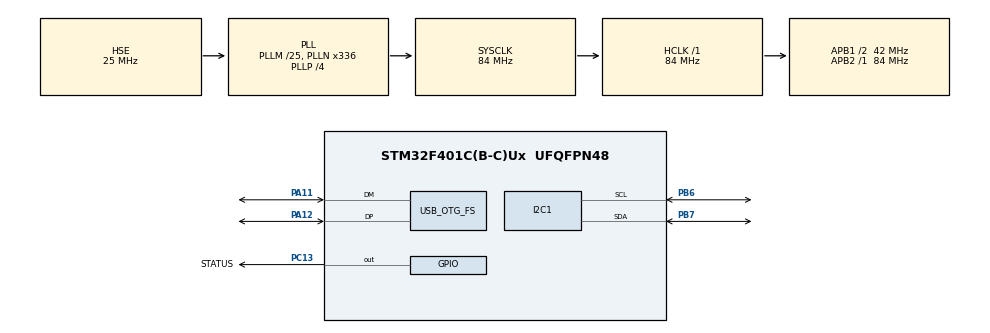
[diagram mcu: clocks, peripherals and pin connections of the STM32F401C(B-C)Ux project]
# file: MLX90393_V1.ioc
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I2C1.I2C_Mode=I2C_Fast
Mcu.Family=STM32F4
Mcu.Name=STM32F401C(B-C)Ux
Mcu.Package=UFQFPN48
NVIC.OTG_FS_IRQn=true\:0\:0\:false\:false\:true\:false\:true\:true
NVIC.PriorityGroup=NVIC_PRIORITYGROUP_4
NVIC.TIM1_TRG_COM_TIM11_IRQn=true\:15\:0\:false\:false\:true\:false\:true\:true
NVIC.TimeBase=TIM1_TRG_COM_TIM11_IRQn
NVIC.TimeBaseIP=TIM11
PA11.Mode=Device_Only
PA11.Signal=USB_OTG_FS_DM
PA12.Mode=Device_Only
PA12.Signal=USB_OTG_FS_DP
PB6.Mode=I2C
PB6.Signal=I2C1_SCL
PB7.Mode=I2C
PB7.Signal=I2C1_SDA
PC13-ANTI_TAMP.GPIO_Label=STATUS
PC13-ANTI_TAMP.Signal=GPIO_Output
PH0\ -\ OSC_IN.Mode=HSE-External-Oscillator
PH0\ -\ OSC_IN.Signal=RCC_OSC_IN
PH1\ -\ OSC_OUT.Mode=HSE-External-Oscillator
PH1\ -\ OSC_OUT.Signal=RCC_OSC_OUT
ProjectManager.HeapSize=0x200
ProjectManager.StackSize=0x400
ProjectManager.TargetToolchain=STM32CubeIDE
RCC.48MHZClocksFreq_Value=48000000
RCC.AHBFreq_Value=84000000
RCC.APB1CLKDivider=RCC_HCLK_DIV2
RCC.APB1Freq_Value=42000000
RCC.APB1TimFreq_Value=84000000
RCC.APB2Freq_Value=84000000
RCC.APB2TimFreq_Value=84000000
RCC.CortexFreq_Value=84000000
RCC.HCLKFreq_Value=84000000
RCC.HSE_VALUE=25000000
RCC.HSI_VALUE=16000000
RCC.LSE_VALUE=32768
RCC.PLLM=25
RCC.PLLN=336
RCC.PLLP=RCC_PLLP_DIV4
RCC.PLLQ=7
RCC.SYSCLKFreq_VALUE=84000000
RCC.SYSCLKSource=RCC_SYSCLKSOURCE_PLLCLK
RCC.VCOOutputFreq_Value=336000000
TIM1.Period=0xffff-1
TIM1.Prescaler=84-1
USB_DEVICE.CLASS_NAME_FS=CDC
USB_DEVICE.VirtualMode=Cdc
USB_DEVICE.VirtualModeFS=Cdc_FS
USB_OTG_FS.VirtualMode=Device_Only
VP_RTC_VS_RTC_Activate.Mode=RTC_Enabled
VP_SYS_VS_tim11.Mode=TIM11
VP_TIM1_VS_ClockSourceINT.Mode=Internal
VP_USB_DEVICE_VS_USB_DEVICE_CDC_FS.Mode=CDC_FS
board=custom

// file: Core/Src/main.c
/* USER CODE BEGIN Header */
/**
  ******************************************************************************
  * @file           : main.c
  * @brief          : Main program body
  ******************************************************************************
  * @attention
  *
  * Copyright (c) 2024 STMicroelectronics.
  * All rights reserved.
  *
  * This software is licensed under terms that can be found in the LICENSE file
  * in the root directory of this software component.
  * If no LICENSE file comes with this software, it is provided AS-IS.
  *
  ******************************************************************************
  */
/* USER CODE END Header */
#include "main.h"
#include "usb_device.h"
#include "usbd_cdc_if.h"

/* USER CODE BEGIN Includes */
#include "mlx90393.h"
#include "stdio.h"
#include "string.h"
/* USER CODE END Includes */

/* USER CODE BEGIN PTD */
char msg[200];
/* USER CODE END PTD */

 I2C_HandleTypeDef hi2c1;

RTC_HandleTypeDef hrtc;

TIM_HandleTypeDef htim1;

void SystemClock_Config(void);
static void MX_GPIO_Init(void);
static void MX_I2C1_Init(void);
static void MX_TIM1_Init(void);
static void MX_RTC_Init(void);
/* USER CODE BEGIN PFP */
MLX_data mlx_data;
calibration_settings calib_set;
calibration_settings slave_settings;
calculated_data calc_data;

/* USER CODE END PFP */

/* USER CODE BEGIN 0 */
float multiplier_x;
float multiplier_y;
float multiplier_z;
/* USER CODE END 0 */

int main(void)
{

  /* MCU Configuration--------------------------------------------------------*/

  /* Reset of all peripherals, Initializes the Flash interface and the Systick. */
  HAL_Init();

  /* Configure the system clock */
  SystemClock_Config();

  /* Initialize all configured peripherals */
  MX_GPIO_Init();
  MX_USB_DEVICE_Init();
  MX_I2C1_Init();
  MX_TIM1_Init();
  MX_RTC_Init();
  /* USER CODE BEGIN 2 */

	set_gain(MLX90393_GAIN_1X);
	set_osr(MLX90393_OSR_0);
	set_filter(MLX90393_FILTER_2);
	set_resolution_X(MLX90393_RES_17);
	set_resolution_Y(MLX90393_RES_17);
	set_resolution_Z(MLX90393_RES_16);

	slave_settings.gain = get_gain();
	slave_settings.osr = get_osr();
	slave_settings.dig_filter = get_filter();
	slave_settings.res_x = get_resolution_X();
	slave_settings.res_y = get_resolution_Y();
	slave_settings.res_z = get_resolution_Z();
	slave_settings.offset_x = get_offset_X();
	slave_settings.offset_y = get_offset_Y();
	slave_settings.offset_z = get_offset_Z();

	set_multipliers(&multiplier_x, &multiplier_y, &multiplier_z);

  /* USER CODE END 2 */

  /* Infinite loop */
  /* USER CODE BEGIN WHILE */
  while (1)
  {
	  read_measure_X(&mlx_data);
	  calc_data.x = (mlx_data.X_axis + slave_settings.offset_x) * multiplier_x;
	  read_measure_Y(&mlx_data);
	  calc_data.y = (mlx_data.Y_axis + slave_settings.offset_y) * multiplier_y;
	  read_measure_Z(&mlx_data);
	  calc_data.z = (mlx_data.Z_axis + slave_settings.offset_z) * multiplier_z;
    /* USER CODE END WHILE */

    /* USER CODE BEGIN 3 */
	  sprintf(msg,	"%.3f,%.3f,%.3f"
	  				"\r\n",
	  				(float) (calc_data.x),
	  				(float) (calc_data.y),
	  				(float) (calc_data.z));

	  CDC_Transmit_FS((uint8_t*) msg, strlen(msg));

	  		//osDelay(1);
	  		HAL_Delay(1);

  }
  /* USER CODE END 3 */
}

void SystemClock_Config(void)
{
  RCC_OscInitTypeDef RCC_OscInitStruct = {0};
  RCC_ClkInitTypeDef RCC_ClkInitStruct = {0};

  /** Configure the main internal regulator output voltage
  */
  __HAL_RCC_PWR_CLK_ENABLE();
  __HAL_PWR_VOLTAGESCALING_CONFIG(PWR_REGULATOR_VOLTAGE_SCALE2);

  /** Initializes the RCC Oscillators according to the specified parameters
  * in the RCC_OscInitTypeDef structure.
  */
  RCC_OscInitStruct.OscillatorType = RCC_OSCILLATORTYPE_LSI|RCC_OSCILLATORTYPE_HSE;
  RCC_OscInitStruct.HSEState = RCC_HSE_ON;
  RCC_OscInitStruct.LSIState = RCC_LSI_ON;
  RCC_OscInitStruct.PLL.PLLState = RCC_PLL_ON;
  RCC_OscInitStruct.PLL.PLLSource = RCC_PLLSOURCE_HSE;
  RCC_OscInitStruct.PLL.PLLM = 25;
  RCC_OscInitStruct.PLL.PLLN = 336;
  RCC_OscInitStruct.PLL.PLLP = RCC_PLLP_DIV4;
  RCC_OscInitStruct.PLL.PLLQ = 7;
  if (HAL_RCC_OscConfig(&RCC_OscInitStruct) != HAL_OK)
  {
    Error_Handler();
  }

  /** Initializes the CPU, AHB and APB buses clocks
  */
  RCC_ClkInitStruct.ClockType = RCC_CLOCKTYPE_HCLK|RCC_CLOCKTYPE_SYSCLK
                              |RCC_CLOCKTYPE_PCLK1|RCC_CLOCKTYPE_PCLK2;
  RCC_ClkInitStruct.SYSCLKSource = RCC_SYSCLKSOURCE_PLLCLK;
  RCC_ClkInitStruct.AHBCLKDivider = RCC_SYSCLK_DIV1;
  RCC_ClkInitStruct.APB1CLKDivider = RCC_HCLK_DIV2;
  RCC_ClkInitStruct.APB2CLKDivider = RCC_HCLK_DIV1;

  if (HAL_RCC_ClockConfig(&RCC_ClkInitStruct, FLASH_LATENCY_2) != HAL_OK)
  {
    Error_Handler();
  }
}

static void MX_I2C1_Init(void)
{

  hi2c1.Instance = I2C1;
  hi2c1.Init.ClockSpeed = 400000;
  hi2c1.Init.DutyCycle = I2C_DUTYCYCLE_2;
  hi2c1.Init.OwnAddress1 = 0;
  hi2c1.Init.AddressingMode = I2C_ADDRESSINGMODE_7BIT;
  hi2c1.Init.DualAddressMode = I2C_DUALADDRESS_DISABLE;
  hi2c1.Init.OwnAddress2 = 0;
  hi2c1.Init.GeneralCallMode = I2C_GENERALCALL_DISABLE;
  hi2c1.Init.NoStretchMode = I2C_NOSTRETCH_DISABLE;
  if (HAL_I2C_Init(&hi2c1) != HAL_OK)
  {
    Error_Handler();
  }

}

static void MX_RTC_Init(void)
{

  /** Initialize RTC Only
  */
  hrtc.Instance = RTC;
  hrtc.Init.HourFormat = RTC_HOURFORMAT_24;
  hrtc.Init.AsynchPrediv = 127;
  hrtc.Init.SynchPrediv = 255;
  hrtc.Init.OutPut = RTC_OUTPUT_DISABLE;
  hrtc.Init.OutPutPolarity = RTC_OUTPUT_POLARITY_HIGH;
  hrtc.Init.OutPutType = RTC_OUTPUT_TYPE_OPENDRAIN;
  if (HAL_RTC_Init(&hrtc) != HAL_OK)
  {
    Error_Handler();
  }

}

static void MX_TIM1_Init(void)
{

  TIM_ClockConfigTypeDef sClockSourceConfig = {0};
  TIM_MasterConfigTypeDef sMasterConfig = {0};

  htim1.Instance = TIM1;
  htim1.Init.Prescaler = 84-1;
  htim1.Init.CounterMode = TIM_COUNTERMODE_UP;
  htim1.Init.Period = 0xffff-1;
  htim1.Init.ClockDivision = TIM_CLOCKDIVISION_DIV1;
  htim1.Init.RepetitionCounter = 0;
  htim1.Init.AutoReloadPreload = TIM_AUTORELOAD_PRELOAD_DISABLE;
  if (HAL_TIM_Base_Init(&htim1) != HAL_OK)
  {
    Error_Handler();
  }
  sClockSourceConfig.ClockSource = TIM_CLOCKSOURCE_INTERNAL;
  if (HAL_TIM_ConfigClockSource(&htim1, &sClockSourceConfig) != HAL_OK)
  {
    Error_Handler();
  }
  sMasterConfig.MasterOutputTrigger = TIM_TRGO_RESET;
  sMasterConfig.MasterSlaveMode = TIM_MASTERSLAVEMODE_DISABLE;
  if (HAL_TIMEx_MasterConfigSynchronization(&htim1, &sMasterConfig) != HAL_OK)
  {
    Error_Handler();
  }

}

static void MX_GPIO_Init(void)
{
  GPIO_InitTypeDef GPIO_InitStruct = {0};

  /* GPIO Ports Clock Enable */
  __HAL_RCC_GPIOC_CLK_ENABLE();
  __HAL_RCC_GPIOH_CLK_ENABLE();
  __HAL_RCC_GPIOA_CLK_ENABLE();
  __HAL_RCC_GPIOB_CLK_ENABLE();

  /*Configure GPIO pin Output Level */
  HAL_GPIO_WritePin(STATUS_GPIO_Port, STATUS_Pin, GPIO_PIN_RESET);

  /*Configure GPIO pin : STATUS_Pin */
  GPIO_InitStruct.Pin = STATUS_Pin;
  GPIO_InitStruct.Mode = GPIO_MODE_OUTPUT_PP;
  GPIO_InitStruct.Pull = GPIO_NOPULL;
  GPIO_InitStruct.Speed = GPIO_SPEED_FREQ_LOW;
  HAL_GPIO_Init(STATUS_GPIO_Port, &GPIO_InitStruct);

}

void HAL_TIM_PeriodElapsedCallback(TIM_HandleTypeDef *htim)
{
  if (htim->Instance == TIM11) {
    HAL_IncTick();
  }
}

void Error_Handler(void)
{
  __disable_irq();
  while (1)
  {
  }
}
